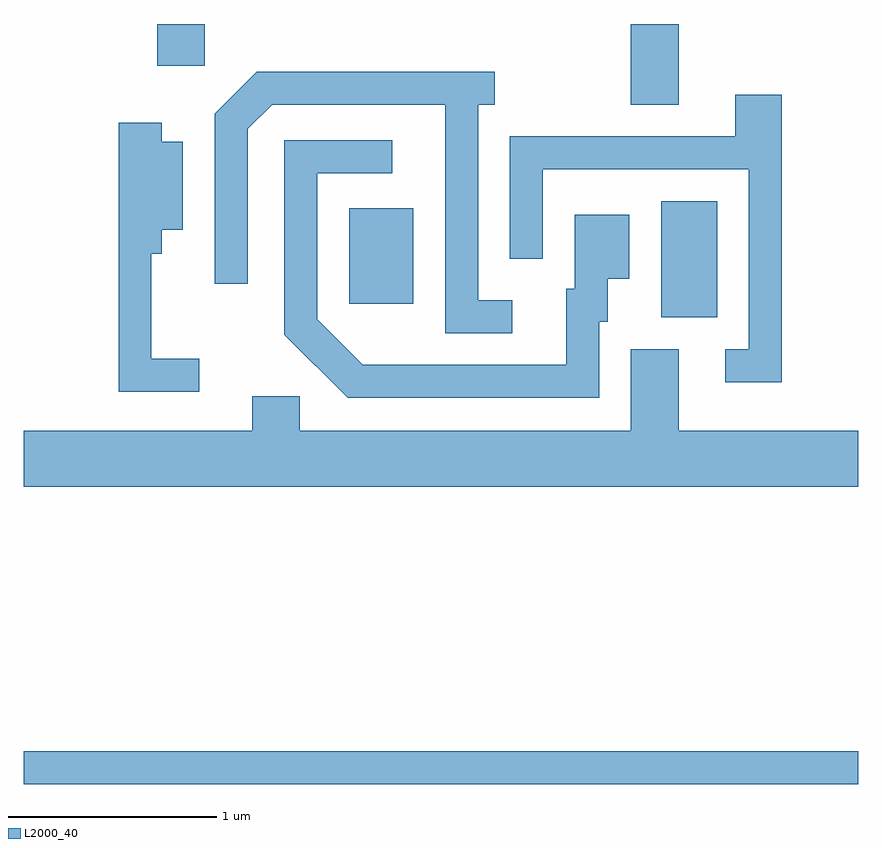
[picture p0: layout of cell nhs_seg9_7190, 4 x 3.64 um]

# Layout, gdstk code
import gdstk
lib = gdstk.Library(unit=1e-6, precision=1e-09)
def R(c, l, rs):  # rectangles x0, y0, x1, y1
    for r in rs: c.add(gdstk.rectangle(r[:2], r[2:], *l))
def P(c, l, *ps):  # polygons
    for p in ps: c.add(gdstk.Polygon(p, *l))
L2000_40 = (2000, 40)

nhs_seg9_7190 = lib.new_cell('nhs_seg9_7190')
R(nhs_seg9_7190, L2000_40, [(397.611,2034.791,401.611,2034.949), (400.666,2037.026,400.934,2037.584), (399.171,2037.091,399.479,2037.549), (400.521,2038.046,400.749,2038.432), (398.251,2038.231,398.479,2038.432)])
P(nhs_seg9_7190, L2000_40, [(399.953,2037.109),(399.789,2037.109),(399.789,2038.046),(399.868,2038.046),(399.868,2038.204),(398.729,2038.204),(398.526,2038.002),(398.526,2037.188),(398.684,2037.188),(398.684,2037.929),(398.802,2038.046),(399.631,2038.046),(399.631,2036.951),(399.953,2036.951)],
  [(401.244,2038.094),(401.021,2038.094),(401.021,2037.894),(399.941,2037.894),(399.941,2037.308),(400.099,2037.308),(400.099,2037.736),(401.086,2037.736),(401.086,2036.874),(400.973,2036.874),(400.973,2036.716),(401.244,2036.716)],
  [(398.453,2036.829),(398.224,2036.829),(398.224,2037.331),(398.274,2037.331),(398.274,2037.446),(398.374,2037.446),(398.374,2037.869),(398.274,2037.869),(398.274,2037.959),(398.066,2037.959),(398.066,2036.671),(398.453,2036.671)],
  [(400.369,2037.006),(400.409,2037.006),(400.409,2037.211),(400.514,2037.211),(400.514,2037.519),(400.251,2037.519),(400.251,2037.164),(400.211,2037.164),(400.211,2036.799),(399.237,2036.799),(399.019,2037.017),(399.019,2037.716),(399.378,2037.716),(399.378,2037.874),(398.861,2037.874),(398.861,2036.944),(399.164,2036.641),(400.369,2036.641)],
  [(401.611,2036.484),(400.749,2036.484),(400.749,2036.874),(400.521,2036.874),(400.521,2036.484),(398.934,2036.484),(398.934,2036.649),(398.706,2036.649),(398.706,2036.484),(397.611,2036.484),(397.611,2036.216),(401.611,2036.216)])

lib.write_gds('nhs_seg9_7190.gds')
